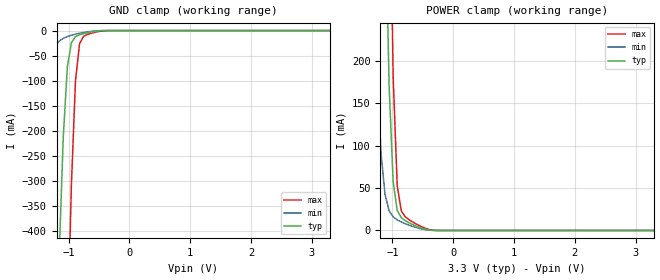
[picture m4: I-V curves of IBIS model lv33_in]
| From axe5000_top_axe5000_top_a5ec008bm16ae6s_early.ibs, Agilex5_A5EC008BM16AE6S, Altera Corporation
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|   Model lv33_in
[Model] lv33_in
Model_type Input
Polarity   Non-Inverting
Enable   Active-High
Vinl =  0.800V
Vinh =  2.000V
C_comp   7.2pF   7.1136pF   7.38pF
[Model Spec]
Vinh   2.000V   2.000V   2.000V
Vinl   0.800V   0.800V   0.800V
[Temperature Range]   25.000   100.000   0.0
[Voltage Range]   3.300V   3.110V   3.399V
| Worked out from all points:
|   GND clamp passes 1 mA (typ) near -0.53 V on its own axis
|   POWER clamp passes 1 mA (typ) near -0.43 V on its own axis
[GND_clamp]
|Voltage   I(typ)   I(min)   I(max)
-3.3V     -12.87A    -8.357A    -16.52A
-1.558V   -2.511A    -552.5mA   -4.084A
-1.491V   -2.137A    -355.3mA   -3.623A
-1.357V   -1.411A    -103.5mA   -2.714A
-1.156V   -446.6mA   -20.83mA   -1.407A
-1.089V   -212.2mA   -15.48mA   -1.001A
-1.022V   -72.84mA   -11.94mA   -624.5mA
-955mV    -23.91mA   -9.279mA   -306.5mA
-888mV    -12.06mA   -7.124mA   -99.55mA
-821mV    -8.28mA    -5.311mA   -26.09mA
-754mV    -6.017mA   -3.763mA   -11.44mA
3.3V      0A         0A         0A
[POWER_clamp]
|Voltage   I(typ)   I(min)   I(max)
-3.266V   14.6A      9.042A     22.44A
-1.323V   1.47A      361mA      2.56A
-1.256V   1.079A     197.3mA    1.988A
-1.189V   716.6mA    92.58mA    1.439A
-1.122V   401.9mA    42.5mA     928.8mA
-1.055V   171.5mA    23.43mA    488.8mA
-988mV    57.39mA    16.1mA     181.5mA
-921mV    23.71mA    12.48mA    52.48mA
-854mV    15.04mA    10.01mA    22.98mA
-653mV    6.516mA    4.436mA    9.431mA
-318mV    72.77uA    58.6uA     217.8uA
3.3V      0A         0A         0A
